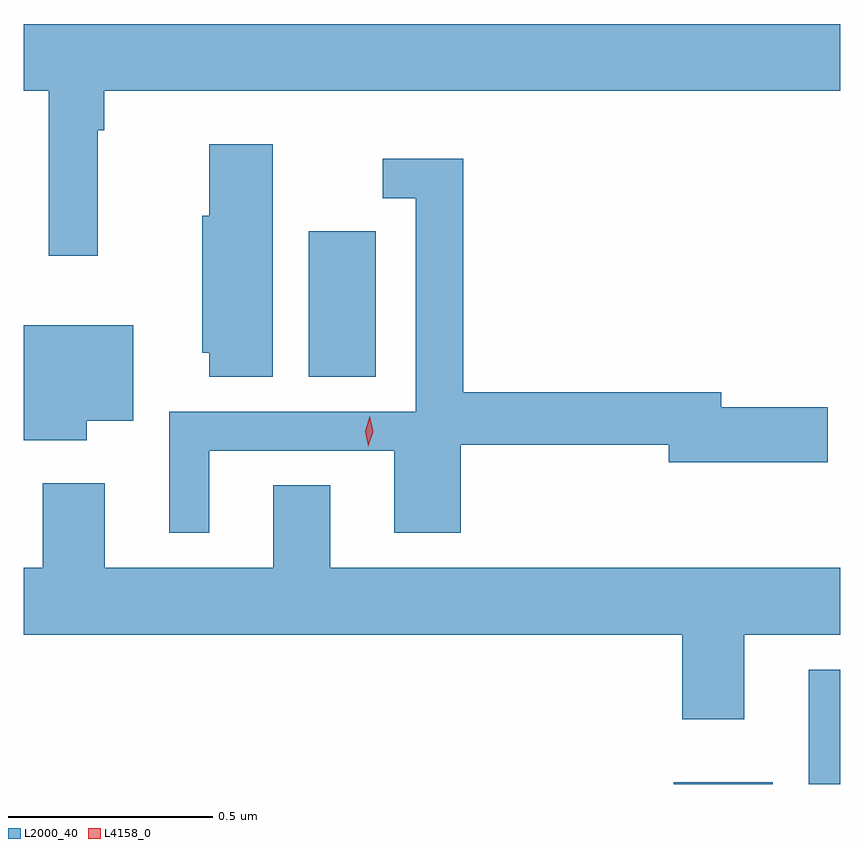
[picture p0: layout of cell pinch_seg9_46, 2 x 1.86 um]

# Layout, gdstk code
import gdstk
lib = gdstk.Library(unit=1e-6, precision=1e-09)
def R(c, l, rs):  # rectangles x0, y0, x1, y1
    for r in rs: c.add(gdstk.rectangle(r[:2], r[2:], *l))
def P(c, l, *ps):  # polygons
    for p in ps: c.add(gdstk.Polygon(p, *l))
L2000_40 = (2000, 40)
L4158_0 = (4158, 0)

pinch_seg9_46 = lib.new_cell('pinch_seg9_46')
R(pinch_seg9_46, L2000_40, [(984.536,1242.675,984.778,1242.679), (984.866,1242.675,984.944,1242.955), (983.642,1243.672,983.806,1244.029)])
P(pinch_seg9_46, L2000_40, [(983.126,1244.276),(983.141,1244.276),(983.141,1244.372),(984.944,1244.372),(984.944,1244.536),(982.944,1244.536),(982.944,1244.372),(983.005,1244.372),(983.005,1243.968),(983.126,1243.968)],
  [(983.554,1244.242),(983.399,1244.242),(983.399,1244.067),(983.381,1244.067),(983.381,1243.731),(983.399,1243.731),(983.399,1243.672),(983.554,1243.672)],
  [(983.398,1243.491),(983.852,1243.491),(983.852,1243.29),(984.014,1243.29),(984.014,1243.506),(984.524,1243.506),(984.524,1243.463),(984.913,1243.463),(984.913,1243.598),(984.652,1243.598),(984.652,1243.634),(984.02,1243.634),(984.02,1244.206),(983.823,1244.206),(983.823,1244.109),(983.904,1244.109),(983.904,1243.587),(983.3,1243.587),(983.3,1243.29),(983.398,1243.29)],
  [(983.098,1243.565),(983.212,1243.565),(983.212,1243.798),(982.944,1243.798),(982.944,1243.517),(983.098,1243.517)],
  [(984.709,1243.04),(984.944,1243.04),(984.944,1243.204),(983.695,1243.204),(983.695,1243.406),(983.555,1243.406),(983.555,1243.204),(983.143,1243.204),(983.143,1243.411),(982.991,1243.411),(982.991,1243.204),(982.944,1243.204),(982.944,1243.04),(984.557,1243.04),(984.557,1242.834),(984.709,1242.834)])
P(pinch_seg9_46, L4158_0, [(983.788,1243.502),(983.788,1243.503),(983.78,1243.539),(983.791,1243.575),(983.791,1243.575),(983.791,1243.575),(983.8,1243.538),(983.788,1243.503)])

lib.write_gds('pinch_seg9_46.gds')
